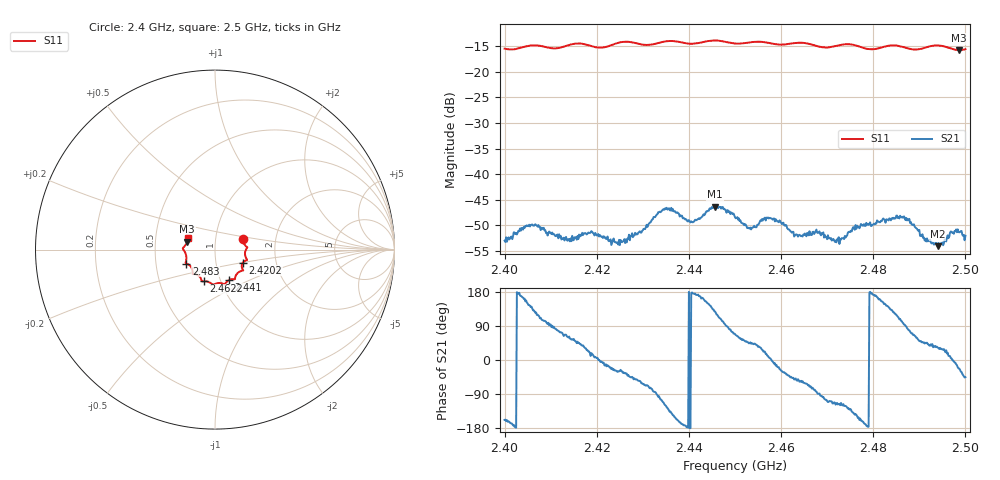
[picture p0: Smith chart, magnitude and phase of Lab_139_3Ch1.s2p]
# Hz S RI R 50
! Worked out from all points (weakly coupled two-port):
!   601 points, 2.4 GHz to 2.5 GHz, reference 50 ohm
!   highest |S21| = -46.34 dB at 2.4457 GHz (marker M1); lowest = -54.0 dB at 2.494 GHz (marker M2)
!   lowest |S11| = -15.8 dB at 2.4987 GHz (marker M3), VSWR 1.39, Z = 36.4 + j3.32 ohm
!   |S11| at or under -10 dB: start of sweep to end of sweep
!   S12 and S22 are empty: the file has one direction only
!   S11 on the Smith chart (normalised r, x): 2.4 GHz: 1.36, +0.17; 2.4202 GHz: 1.35, -0.20; 2.441 GHz: 1.09, -0.39; 2.4622 GHz: 0.83, -0.30; 2.483 GHz: 0.72, -0.12; 2.5 GHz: 0.73, +0.09
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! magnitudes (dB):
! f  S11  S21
! 2.4 GHz  -15.5  -53.0
! 2.4062 GHz  -14.9  -50.0
! 2.414 GHz  -14.8  -52.7
! 2.4167 GHz  -14.6  -52.0
! 2.4202 GHz  -15.3  -52.0
! 2.426 GHz  -14.2  -52.7
! 2.4333 GHz  -14.4  -47.4
! 2.436 GHz  -14.0  -47.1
! 2.441 GHz  -14.6  -49.3
! 2.4457 GHz  -13.9  -46.3
! 2.45 GHz  -14.5  -48.4
! 2.4532 GHz  -14.3  -50.6
! 2.4573 GHz  -14.4  -48.6
! 2.4622 GHz  -14.5  -51.2
! 2.4667 GHz  -14.7  -51.9
! 2.4722 GHz  -14.9  -52.7
! 2.483 GHz  -15.0  -48.9
! 2.4833 GHz  -15.0  -49.0
! 2.4873 GHz  -15.4  -49.0
! 2.494 GHz  -14.9  -54.0
! 2.4987 GHz  -15.8  -51.4
! 2.5 GHz  -15.6  -52.0
